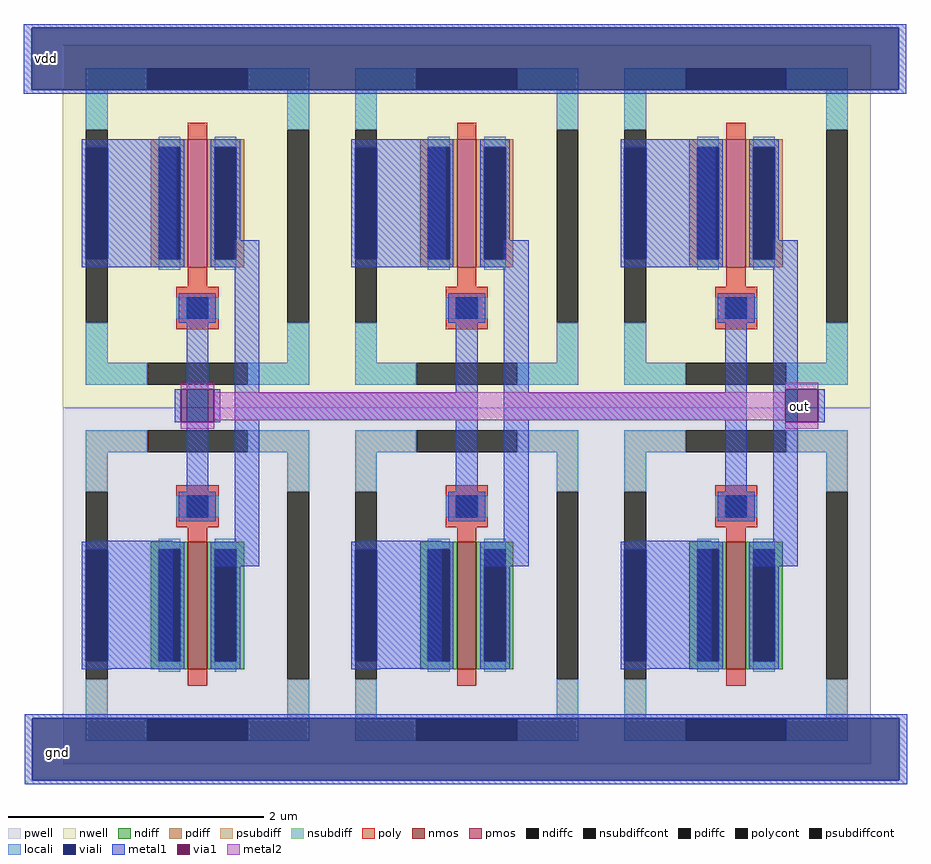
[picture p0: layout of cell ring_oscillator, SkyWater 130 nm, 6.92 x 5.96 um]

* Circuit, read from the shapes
.subckt ring_oscillator vdd gnd out
XM1 n1 out gnd gnd sky130_fd_pr__nfet_01v8 w=1 l=0.15
XM2 n2 n1 gnd gnd sky130_fd_pr__nfet_01v8 w=1 l=0.15
XM3 out n2 gnd gnd sky130_fd_pr__nfet_01v8 w=1 l=0.15
XM4 n1 out vdd vdd sky130_fd_pr__pfet_01v8 w=1 l=0.15
XM5 n2 n1 vdd vdd sky130_fd_pr__pfet_01v8 w=1 l=0.15
XM6 out n2 vdd vdd sky130_fd_pr__pfet_01v8 w=1 l=0.15
.ends

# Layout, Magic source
magic
tech sky130A
magscale 1 2
<< viali >>
rect -49 1056 1310 1153
rect -48 -26 1311 71
<< metal1 >>
rect -61 1153 1322 1159
rect -61 1056 -49 1153
rect 1310 1056 1322 1153
rect -61 1050 1322 1056
rect 175 535 185 587
rect 237 535 247 587
rect 292 538 649 581
rect 714 538 1071 581
rect 1122 535 1132 587
rect 1184 535 1194 587
rect -60 71 1323 77
rect -60 -26 -48 71
rect 1311 -26 1323 71
rect -60 -32 1323 -26
<< via1 >>
rect 185 535 237 587
rect 1132 535 1184 587
<< metal2 >>
rect 185 587 237 597
rect 1132 587 1184 597
rect 237 538 1132 582
rect 185 525 237 535
rect 1132 525 1184 535
use inverter  x1
transform 1 0 53 0 1 -9
box -53 9 369 1136
use inverter  x2
transform 1 0 475 0 1 -9
box -53 9 369 1136
use inverter  x3
transform 1 0 897 0 1 -9
box -53 9 369 1136
<< labels >>
flabel viali -26 1105 -26 1105 0 FreeSans 160 0 0 0 vdd
port 0 nsew
flabel viali -8 17 -8 17 0 FreeSans 160 0 0 0 gnd
port 1 nsew
flabel via1 1155 560 1155 560 0 FreeSans 160 0 0 0 out
port 2 nsew
<< end >>

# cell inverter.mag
magic
tech sky130A
magscale 1 2
<< viali >>
rect -17 799 17 975
rect -17 169 17 345
<< metal1 >>
rect -23 975 125 987
rect -23 799 -17 975
rect 17 799 125 975
rect -23 787 125 799
rect 141 395 175 740
rect -7 357 119 358
rect 216 357 255 829
rect -23 345 119 357
rect -23 169 -17 345
rect 17 169 119 345
rect 179 318 255 357
rect -23 158 119 169
rect -23 157 23 158
use sky130_fd_pr__nfet_01v8_64Z3AY  XM1
transform 1 0 158 0 1 288
box -211 -279 211 279
use sky130_fd_pr__pfet_01v8_LGS3BL  XM2
transform 1 0 158 0 1 851
box -211 -284 211 284
<< end >>

# cell sky130_fd_pr__nfet_01v8_64Z3AY: kit device sky130_fd_pr__nfet_01v8, w 1.0 l 0.15 m 1 nf 1 diffcov 100 polycov 100 guard 1 glc 1 grc 1 gtc 1 gbc 1 tbcov 100 rlcov 100 topc 1 botc 0 poverlap 0 doverlap 1 lmin 0.15 wmin 0.42 compatible {sky130_fd_pr__nfet_01v8 sky130_fd_pr__nfet_01v8_lvt sky130_fd_bs_flash__special_sonosfet_star sky130_fd_pr__nfet_g5v0d10v5 sky130_fd_pr__nfet_05v0_nvt sky130_fd_pr__nfet_03v3_nvt} full_metal 1 viasrc 100 viadrn 100 viagate 100 viagb 0 viagr 0 viagl 0 viagt 0

# cell sky130_fd_pr__pfet_01v8_LGS3BL: kit device sky130_fd_pr__pfet_01v8, w 1.0 l 0.15 m 1 nf 1 diffcov 100 polycov 100 guard 1 glc 1 grc 1 gtc 1 gbc 1 tbcov 100 rlcov 100 topc 0 botc 1 poverlap 0 doverlap 1 lmin 0.15 wmin 0.42 compatible {sky130_fd_pr__pfet_01v8 sky130_fd_pr__pfet_01v8_lvt sky130_fd_pr__pfet_01v8_hvt sky130_fd_pr__pfet_g5v0d10v5} full_metal 1 viasrc 100 viadrn 100 viagate 100 viagb 0 viagr 0 viagl 0 viagt 0
